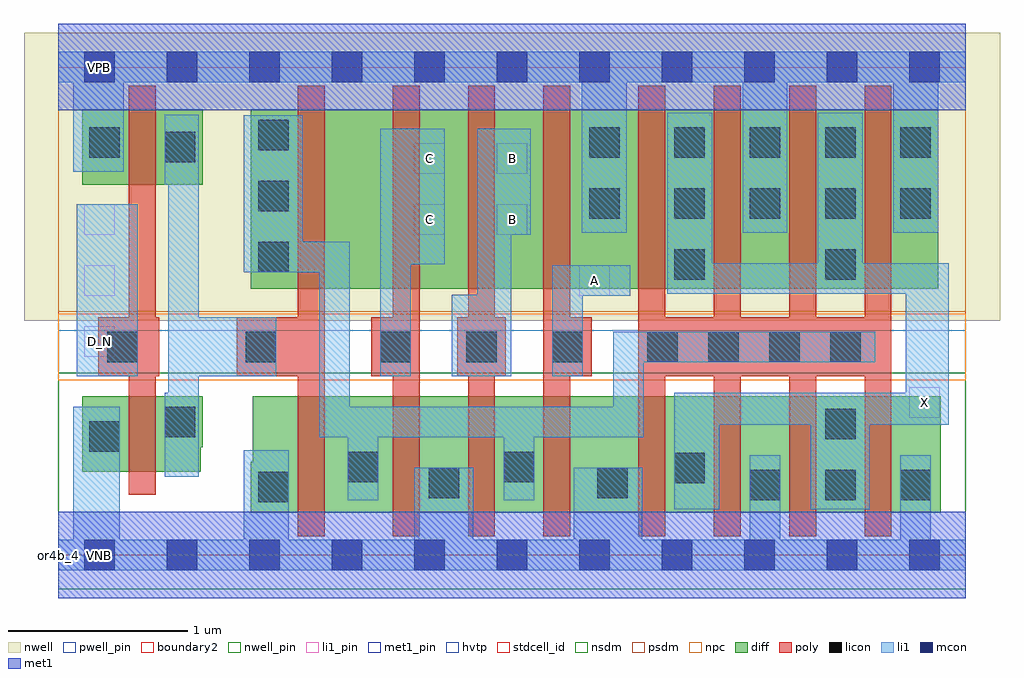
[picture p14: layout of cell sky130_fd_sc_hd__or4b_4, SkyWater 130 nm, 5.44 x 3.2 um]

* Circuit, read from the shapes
.subckt sky130_fd_sc_hd__or4b_4 A B C D_N VGND VNB VPB VPWR X
XM1 n1 D_N VGND VNB sky130_fd_pr__nfet_01v8 w=0.42 l=0.15
XM2 n2 n1 VGND VNB sky130_fd_pr__nfet_01v8 w=0.65 l=0.15
XM3 VGND C n2 VNB sky130_fd_pr__nfet_01v8 w=0.65 l=0.15
XM4 n2 B VGND VNB sky130_fd_pr__nfet_01v8 w=0.65 l=0.15
XM5 VGND A n2 VNB sky130_fd_pr__nfet_01v8 w=0.65 l=0.15
XM6 X n2 VGND VNB sky130_fd_pr__nfet_01v8 w=0.65 l=0.15 m=4
XM7 n1 D_N VPWR VPB sky130_fd_pr__pfet_01v8_hvt w=0.42 l=0.15
XM8 n3 n1 n2 VPB sky130_fd_pr__pfet_01v8_hvt w=1 l=0.15
XM9 n4 C n3 VPB sky130_fd_pr__pfet_01v8_hvt w=1 l=0.15
XM10 n5 B n4 VPB sky130_fd_pr__pfet_01v8_hvt w=1 l=0.15
XM11 VPWR A n5 VPB sky130_fd_pr__pfet_01v8_hvt w=1 l=0.15
XM12 X n2 VPWR VPB sky130_fd_pr__pfet_01v8_hvt w=1 l=0.15 m=4
.ends

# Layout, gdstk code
import gdstk
lib = gdstk.Library(unit=1e-6, precision=1e-09)
def R(c, l, rs):  # rectangles x0, y0, x1, y1
    for r in rs: c.add(gdstk.rectangle(r[:2], r[2:], *l))
def A(c, l, x, y, w, h, nx, ny, dx, dy):  # array of equal rectangles
    R(c, l, [(x+i*dx, y+j*dy, x+i*dx+w, y+j*dy+h) for i in range(nx) for j in range(ny)])
def P(c, l, *ps):  # polygons
    for p in ps: c.add(gdstk.Polygon(p, *l))
nwell_pin = (64, 16)
nwell = (64, 20)
diff = (65, 20)
poly = (66, 20)
licon = (66, 44)
li1_pin = (67, 16)
li1 = (67, 20)
mcon = (67, 44)
met1_pin = (68, 16)
met1 = (68, 20)
hvtp = (78, 44)
stdcell_id = (81, 4)
nsdm = (93, 44)
psdm = (94, 20)
npc = (95, 20)
pwell_pin = (122, 16)
boundary2 = (236, 0)

sky130_fd_sc_hd__or4b_4 = lib.new_cell('sky130_fd_sc_hd__or4b_4')
R(sky130_fd_sc_hd__or4b_4, nwell_pin, [(0.145,2.635,0.315,2.805)])
R(sky130_fd_sc_hd__or4b_4, nwell, [(-0.19,1.305,5.25,2.91)])
R(sky130_fd_sc_hd__or4b_4, diff, [(1.075,1.485,4.905,2.485), (0.135,2.065,0.805,2.485)])
P(sky130_fd_sc_hd__or4b_4, diff, [(0.805,0.885),(0.135,0.885),(0.135,0.465),(0.795,0.465),(0.795,0.6),(0.805,0.6)],
  [(4.92,0.885),(1.085,0.885),(1.085,0.52),(1.075,0.52),(1.075,0.235),(4.92,0.235)])
R(sky130_fd_sc_hd__or4b_4, poly, [(0.395,0.335,0.545,1.02), (0.225,0.995,0.565,1.325), (0.395,1.315,0.545,2.615)])
P(sky130_fd_sc_hd__or4b_4, poly, [(2.975,1.325),(2.855,1.325),(2.855,2.615),(2.705,2.615),(2.705,0.105),(2.855,0.105),(2.855,0.995),(2.975,0.995)],
  [(4.645,2.615),(4.495,2.615),(4.495,1.325),(4.225,1.325),(4.225,2.615),(4.075,2.615),(4.075,1.325),(3.805,1.325),(3.805,2.615),(3.655,2.615),(3.655,1.325),(3.385,1.325),(3.385,2.615),(3.235,2.615),(3.235,0.105),(3.385,0.105),(3.385,0.995),(3.655,0.995),(3.655,0.105),(3.805,0.105),(3.805,0.995),(4.075,0.995),(4.075,0.105),(4.225,0.105),(4.225,0.995),(4.495,0.995),(4.495,0.105),(4.645,0.105)],
  [(1.485,2.615),(1.335,2.615),(1.335,1.325),(0.995,1.325),(0.995,0.995),(1.335,0.995),(1.335,0.105),(1.485,0.105)],
  [(2.015,2.615),(1.865,2.615),(1.865,1.325),(1.745,1.325),(1.745,0.995),(1.865,0.995),(1.865,0.105),(2.015,0.105)],
  [(2.495,1.325),(2.435,1.325),(2.435,2.615),(2.285,2.615),(2.285,1.325),(2.225,1.325),(2.225,0.995),(2.285,0.995),(2.285,0.105),(2.435,0.105),(2.435,0.995),(2.495,0.995)])
A(sky130_fd_sc_hd__or4b_4, licon, 3.855, 0.305, 0.17, 0.17, 3, 1, 0.42, 0)
A(sky130_fd_sc_hd__or4b_4, licon, 1.795, 1.075, 0.17, 0.17, 3, 1, 0.48, 0)
A(sky130_fd_sc_hd__or4b_4, licon, 3.285, 1.075, 0.17, 0.17, 4, 1, 0.34, 0)
A(sky130_fd_sc_hd__or4b_4, licon, 1.115, 1.575, 0.17, 0.17, 1, 3, 0, 0.34)
A(sky130_fd_sc_hd__or4b_4, licon, 3.435, 1.875, 0.17, 0.17, 4, 2, 0.42, 0.34)
R(sky130_fd_sc_hd__or4b_4, licon, [(1.115,0.295,1.285,0.465), (2.065,0.315,2.235,0.485), (3.005,0.315,3.175,0.485), (3.435,0.4,3.605,0.57), (1.615,0.405,1.785,0.575), (2.485,0.405,2.655,0.575), (0.175,0.575,0.345,0.745), (4.275,0.645,4.445,0.815), (0.595,0.655,0.765,0.825), (0.275,1.075,0.445,1.245), (1.045,1.075,1.215,1.245), (3.435,1.535,3.605,1.705), (4.275,1.535,4.445,1.705), (2.96,1.875,3.13,2.045), (0.595,2.19,0.765,2.36), (0.175,2.215,0.345,2.385), (2.96,2.215,3.13,2.385)])
A(sky130_fd_sc_hd__or4b_4, li1_pin, 0.145, 1.105, 0.17, 0.17, 1, 3, 0, 0.34)
R(sky130_fd_sc_hd__or4b_4, li1_pin, [(4.745,0.765,4.915,0.935), (2.905,1.445,3.075,1.615), (1.985,1.785,2.155,1.955), (2.445,1.785,2.615,1.955), (1.985,2.125,2.155,2.295), (2.445,2.125,2.615,2.295)])
R(sky130_fd_sc_hd__or4b_4, li1, [(0.105,0.995,0.445,1.955)])
P(sky130_fd_sc_hd__or4b_4, li1, [(5.06,0.085),(4.865,0.085),(4.865,0.555),(4.695,0.555),(4.695,0.085),(4.025,0.085),(4.025,0.555),(3.855,0.555),(3.855,0.085),(3.255,0.085),(3.255,0.485),(2.875,0.485),(2.875,0.085),(2.315,0.085),(2.315,0.485),(1.985,0.485),(1.985,0.085),(1.285,0.085),(1.285,0.585),(1.035,0.585),(1.035,0.085),(0.345,0.085),(0.345,0.825),(0.085,0.825),(0.085,0.085),(0,0.085),(0,-0.085),(5.06,-0.085)],
  [(5.06,2.805),(0,2.805),(0,2.635),(0.085,2.635),(0.085,2.135),(0.365,2.135),(0.365,2.635),(2.92,2.635),(2.92,1.795),(3.17,1.795),(3.17,2.635),(3.815,2.635),(3.815,1.795),(4.065,1.795),(4.065,2.635),(4.655,2.635),(4.655,1.795),(4.905,1.795),(4.905,2.635),(5.06,2.635)],
  [(1.215,1.325),(0.785,1.325),(0.785,2.455),(0.595,2.455),(0.595,2.065),(0.615,2.065),(0.615,0.905),(0.595,0.905),(0.595,0.435),(0.785,0.435),(0.785,0.995),(1.215,0.995)],
  [(2.155,2.375),(1.795,2.375),(1.795,0.995),(1.965,0.995),(1.965,1.62),(2.155,1.62)],
  [(2.635,2.375),(2.335,2.375),(2.335,1.45),(2.195,1.45),(2.195,0.995),(2.525,0.995),(2.525,1.785),(2.635,1.785)],
  [(3.19,1.615),(2.755,1.615),(2.755,0.995),(2.925,0.995),(2.925,1.445),(3.19,1.445)],
  [(4.555,1.245),(3.095,1.245),(3.095,0.825),(1.625,0.825),(1.625,1.745),(1.365,1.745),(1.365,2.45),(1.035,2.45),(1.035,1.575),(1.455,1.575),(1.455,0.655),(1.615,0.655),(1.615,0.305),(1.785,0.305),(1.785,0.655),(2.485,0.655),(2.485,0.305),(2.655,0.305),(2.655,0.655),(3.265,0.655),(3.265,1.075),(4.555,1.075)],
  [(4.965,1.625),(4.485,1.625),(4.485,2.465),(4.235,2.465),(4.235,1.625),(3.645,1.625),(3.645,2.465),(3.395,2.465),(3.395,1.455),(4.725,1.455),(4.725,0.905),(3.435,0.905),(3.435,0.255),(3.685,0.255),(3.685,0.725),(4.195,0.725),(4.195,0.255),(4.525,0.255),(4.525,0.725),(4.965,0.725)])
A(sky130_fd_sc_hd__or4b_4, mcon, 0.145, -0.085, 0.17, 0.17, 11, 2, 0.46, 2.72)
R(sky130_fd_sc_hd__or4b_4, met1_pin, [(0.145,-0.085,0.315,0.085), (0.145,2.635,0.315,2.805)])
R(sky130_fd_sc_hd__or4b_4, hvtp, [(0,1.25,5.06,2.72)])
R(sky130_fd_sc_hd__or4b_4, stdcell_id, [(0,0,5.06,2.72)])
R(sky130_fd_sc_hd__or4b_4, nsdm, [(0,-0.19,5.06,1.015)])
R(sky130_fd_sc_hd__or4b_4, psdm, [(0,1.355,5.06,2.91)])
R(sky130_fd_sc_hd__or4b_4, npc, [(0,0.975,5.06,1.345)])
R(sky130_fd_sc_hd__or4b_4, pwell_pin, [(0.145,-0.085,0.315,0.085)])
R(sky130_fd_sc_hd__or4b_4, boundary2, [(0,0,5.06,2.72)])
sky130_fd_sc_hd__or4b_4.add(gdstk.FlexPath([(0,2.72),(5.06,2.72)], 0.48, ends="flush", simple_path=True, layer=68, datatype=20))  # met1
sky130_fd_sc_hd__or4b_4.add(gdstk.FlexPath([(0,0),(5.06,0)], 0.48, ends="flush", simple_path=True, layer=68, datatype=20))  # met1
sky130_fd_sc_hd__or4b_4.add(gdstk.Label('D_N', (0.23,1.19), layer=67, texttype=5))
sky130_fd_sc_hd__or4b_4.add(gdstk.Label('B', (2.53,2.21), layer=67, texttype=5))
sky130_fd_sc_hd__or4b_4.add(gdstk.Label('B', (2.53,1.87), layer=67, texttype=5))
sky130_fd_sc_hd__or4b_4.add(gdstk.Label('C', (2.07,1.87), layer=67, texttype=5))
sky130_fd_sc_hd__or4b_4.add(gdstk.Label('A', (2.99,1.53), layer=67, texttype=5))
sky130_fd_sc_hd__or4b_4.add(gdstk.Label('C', (2.07,2.21), layer=67, texttype=5))
sky130_fd_sc_hd__or4b_4.add(gdstk.Label('X', (4.83,0.85), layer=67, texttype=5))
sky130_fd_sc_hd__or4b_4.add(gdstk.Label('VNB', (0.23,0), layer=64, texttype=59))
sky130_fd_sc_hd__or4b_4.add(gdstk.Label('VPB', (0.23,2.72), layer=64, texttype=5))
sky130_fd_sc_hd__or4b_4.add(gdstk.Label('VGND', (0.23,0), layer=68, texttype=5))
sky130_fd_sc_hd__or4b_4.add(gdstk.Label('VPWR', (0.23,2.72), layer=68, texttype=5))
sky130_fd_sc_hd__or4b_4.add(gdstk.Label('or4b_4', (0,0), layer=83, texttype=44))

lib.write_gds('sky130_fd_sc_hd__or4b_4.gds')
